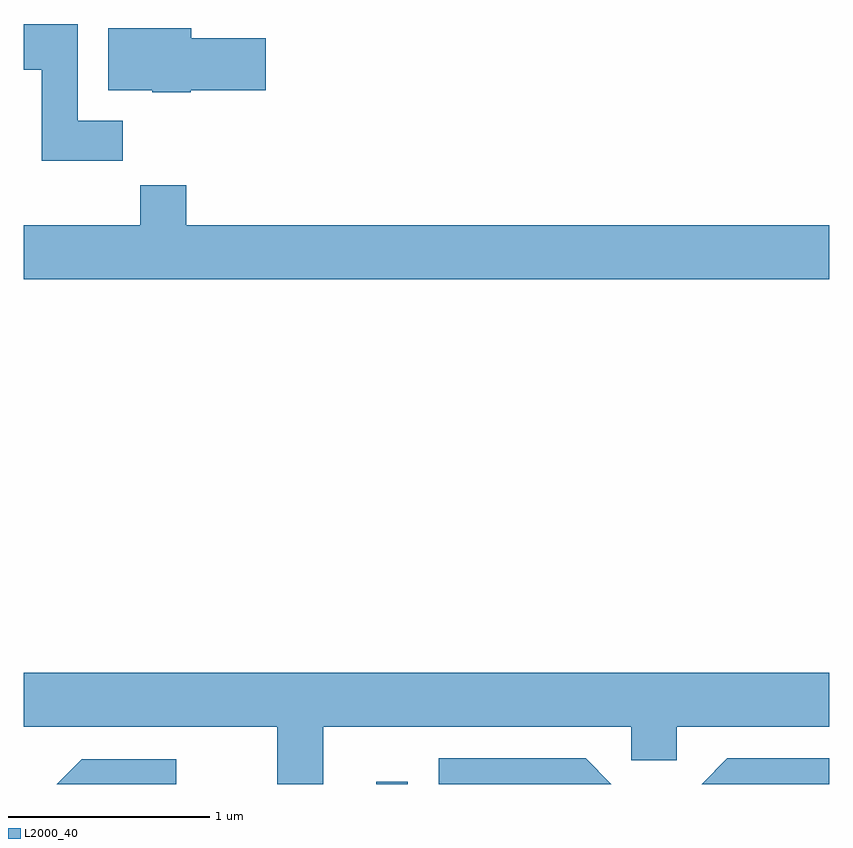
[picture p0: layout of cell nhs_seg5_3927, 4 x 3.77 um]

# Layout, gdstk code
import gdstk
lib = gdstk.Library(unit=1e-6, precision=1e-09)
def R(c, l, rs):  # rectangles x0, y0, x1, y1
    for r in rs: c.add(gdstk.rectangle(r[:2], r[2:], *l))
def P(c, l, *ps):  # polygons
    for p in ps: c.add(gdstk.Polygon(p, *l))
L2000_40 = (2000, 40)

nhs_seg5_3927 = lib.new_cell('nhs_seg5_3927')
R(nhs_seg5_3927, L2000_40, [(303.361,1452.072,303.519,1452.083)])
P(nhs_seg5_3927, L2000_40, [(302.104,1455.364),(301.879,1455.364),(301.879,1455.844),(301.611,1455.844),(301.611,1455.616),(301.701,1455.616),(301.701,1455.166),(302.104,1455.166)],
  [(302.44,1455.516),(302.814,1455.516),(302.814,1455.774),(302.444,1455.774),(302.444,1455.824),(302.031,1455.824),(302.031,1455.516),(302.25,1455.516),(302.25,1455.506),(302.44,1455.506)],
  [(305.611,1454.844),(302.419,1454.844),(302.419,1455.044),(302.191,1455.044),(302.191,1454.844),(301.611,1454.844),(301.611,1454.576),(305.611,1454.576)],
  [(303.099,1452.356),(304.626,1452.356),(304.626,1452.191),(304.854,1452.191),(304.854,1452.356),(305.611,1452.356),(305.611,1452.624),(301.611,1452.624),(301.611,1452.356),(302.871,1452.356),(302.871,1452.072),(303.099,1452.072)],
  [(305.611,1452.199),(305.104,1452.199),(304.977,1452.072),(305.611,1452.072)],
  [(304.402,1452.199),(303.671,1452.199),(303.671,1452.072),(304.529,1452.072)],
  [(302.368,1452.194),(301.899,1452.194),(301.776,1452.072),(302.368,1452.072)])

lib.write_gds('nhs_seg5_3927.gds')
